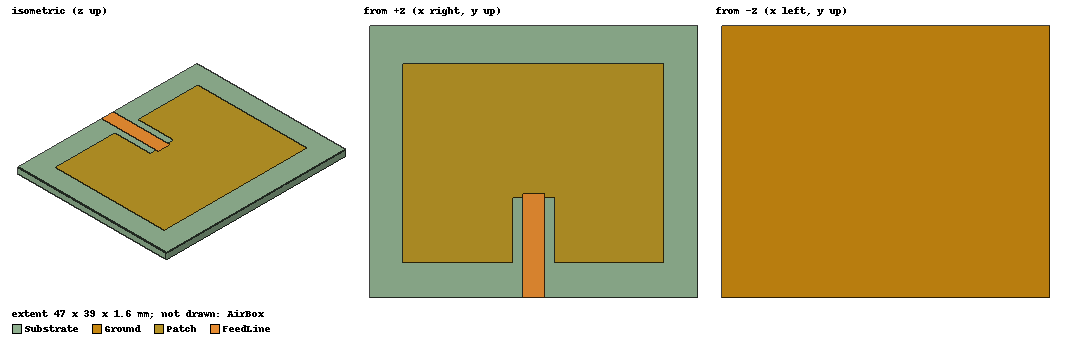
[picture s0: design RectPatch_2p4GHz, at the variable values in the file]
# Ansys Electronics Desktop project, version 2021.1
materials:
  vacuum: permittivity=1
  FR4_epoxy: permittivity=4.4 dielectric_loss_tangent=0.02

design RectPatch_2p4GHz (HFSS, DrivenModal, model units mm)
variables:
  Lp = 28.6mm
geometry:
  Substrate [FR4_epoxy] = box(corner=(0mm, 0mm, -1.6mm), size=(47mm, 39mm, 1.6mm))
  Ground = rectangle(corner=(0mm, 0mm, -1.6mm), x_size=47mm, y_size=39mm)
  Patch = rectangle(corner=(((47-37.4)/2) mm, ((39-29)/2) mm, 0mm), x_size=37.4mm, y_size=Lp)
  FeedLine = rectangle(corner=(21.95mm, 0mm, 0mm), x_size=3.1mm, y_size=14.9mm)
  Port1 = rectangle(corner=(21.95mm, 0mm, -1.6mm), y_size=3.1mm, z_size=1.6mm)
  AirBox [vacuum] = box(corner=(-30mm, -30mm, -31.6mm), size=(107mm, 99mm, 61.6mm))
  Notch = rectangle(corner=(20.45mm, 5mm, 0mm), x_size=6.1mm, y_size=9.3mm)
  Patch.subtract(Notch)
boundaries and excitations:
  PerfE1: Perfect E Objects=Ground
  PerfE2: Perfect E Objects=Patch
  PerfE3: Perfect E Faces=FeedLine.face
  Rad1: Radiation Objects=AirBox
  1: Lumped Port Objects=Port1 Modes{Mode1{IntLine{Port1.vertex(1 of 4) -> Port1.vertex(4 of 4)} CharImp=Zpi RenormImp=50ohm}} Impedance=50ohm
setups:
  Setup1: HfssDriven Frequency=2.44GHz MaxDeltaS=0.02 MaximumPasses=15 MinimumPasses=1 MinimumConvergedPasses=1 PercentRefinement=30 BasisOrder=1 PortAccuracy=2 ConstantDelta=0s
    sweep Sweep: 1.5GHz to 3.5GHz, 201 points; Type=Interpolating InterpTolerance=0.5 InterpMaxSolns=250 InterpUsePortImped=false PassivityErrorTolerance=0.0001
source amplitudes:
  1:1: 1W 0deg
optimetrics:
  ParametricSetup1: Parametric Sim._Setups=[Setup1]
    sweep Lp: LIN 28mm 30mm 0.2mm
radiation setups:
  3D: Infinite Sphere Theta=0deg..180deg step 5deg Phi=0deg..360deg step 5deg
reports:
  S Parameter Plot 1: dB(S(1,1)) vs Freq on Setup1 : Sweep; markers m1 at 2.36GHz, m2 at 2.4GHz
  S Parameter Plot 2: dB(S(1,1)) vs Freq on Setup1 : Sweep [Lp=all]; markers m1 at 2.35GHz, m2 at 2.4GHz, m3 at 2.42GHz, m4 at 2.44GHz, m5 at 2.4GHz, m6 at 2.42GHz, m7 at 2.44GHz
  S Parameter Plot 3: dB(S(1,1)) vs Freq on Setup1 : Sweep [Lp=28.6mm]; markers m1 at 2.44GHz, m2 at 2.41GHz, m5 at 2.46GHz
  Gain Plot 1: GainTotal vs Phi, Theta on Setup1 : LastAdaptive, 3D [Freq=2.44GHz Lp=28.6mm]
